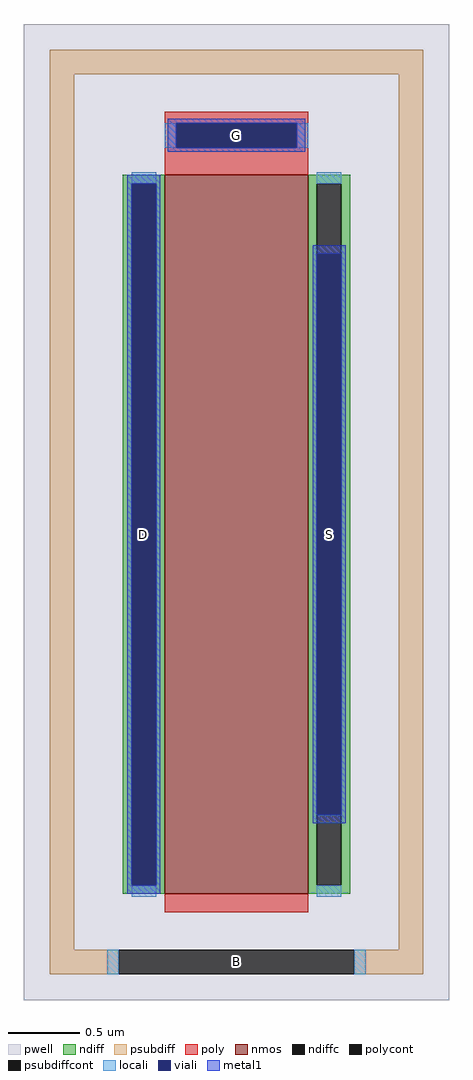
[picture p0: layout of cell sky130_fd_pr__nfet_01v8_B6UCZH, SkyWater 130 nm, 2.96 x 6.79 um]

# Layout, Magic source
magic
tech sky130A
magscale 1 2
<< pwell >>
rect -296 -679 296 679
<< nmos >>
rect -100 -531 100 469
<< ndiff >>
rect -158 457 -100 469
rect -158 -519 -146 457
rect -112 -519 -100 457
rect -158 -531 -100 -519
rect 100 457 158 469
rect 100 -519 112 457
rect 146 -519 158 457
rect 100 -531 158 -519
<< ndiffc >>
rect -146 -519 -112 457
rect 112 -519 146 457
<< psubdiff >>
rect -260 609 260 643
rect -260 -609 -226 609
rect 226 -609 260 609
rect -260 -643 -164 -609
rect 164 -643 260 -609
<< psubdiffcont >>
rect -164 -643 164 -609
<< poly >>
rect -100 541 100 557
rect -100 507 -84 541
rect 84 507 100 541
rect -100 469 100 507
rect -100 -557 100 -531
<< polycont >>
rect -84 507 84 541
<< locali >>
rect -100 507 -84 541
rect 84 507 100 541
rect -146 457 -112 473
rect -146 -535 -112 -519
rect 112 457 146 473
rect 112 -535 146 -519
rect -180 -643 -164 -609
rect 164 -643 180 -609
<< viali >>
rect -84 507 84 541
rect -146 -519 -112 457
rect 112 -421 146 359
<< metal1 >>
rect -96 541 96 547
rect -96 507 -84 541
rect 84 507 96 541
rect -96 501 96 507
rect -152 457 -106 469
rect -152 -519 -146 457
rect -112 -519 -106 457
rect 106 359 152 371
rect 106 -421 112 359
rect 146 -421 152 359
rect 106 -433 152 -421
rect -152 -531 -106 -519
<< labels >>
rlabel ndiffc -129 -31 -129 -31 0 D
port 2 nsew
rlabel ndiffc 129 -31 129 -31 0 S
port 3 nsew
rlabel polycont 0 524 0 524 0 G
port 4 nsew
flabel metal1 s -130 -31 -130 -31 0 FreeSans 320 0 0 0 D
port 14 nsew
flabel metal1 s 130 -31 130 -31 0 FreeSans 320 0 0 0 S
port 16 nsew
flabel metal1 s 1 524 1 524 0 FreeSans 320 0 0 0 G
port 18 nsew
flabel locali s 0 -626 0 -626 0 FreeSans 320 0 0 0 B
port 20 nsew
<< properties >>
string FIXED_BBOX -243 -626 243 626
string gencell sky130_fd_pr__nfet_01v8
string library sky130
string parameters w 5 l 1 m 1 nf 1 diffcov 100 polycov 100 guard 1 glc 0 grc 0 gtc 0 gbc 1 tbcov 100 rlcov 100 topc 1 botc 0 poverlap 0 doverlap 1 lmin 0.15 wmin 0.42 class mosfet compatible {sky130_fd_pr__nfet_01v8 sky130_fd_pr__nfet_01v8_lvt  sky130_fd_bs_flash__special_sonosfet_star  sky130_fd_pr__nfet_g5v0d10v5 sky130_fd_pr__nfet_05v0_nvt  sky130_fd_pr__nfet_03v3_nvt} full_metal 0 viasrc 80 viadrn 100 viagate 100 viagb 0 viagr 0 viagl 0 viagt 0 doports 1
<< end >>
